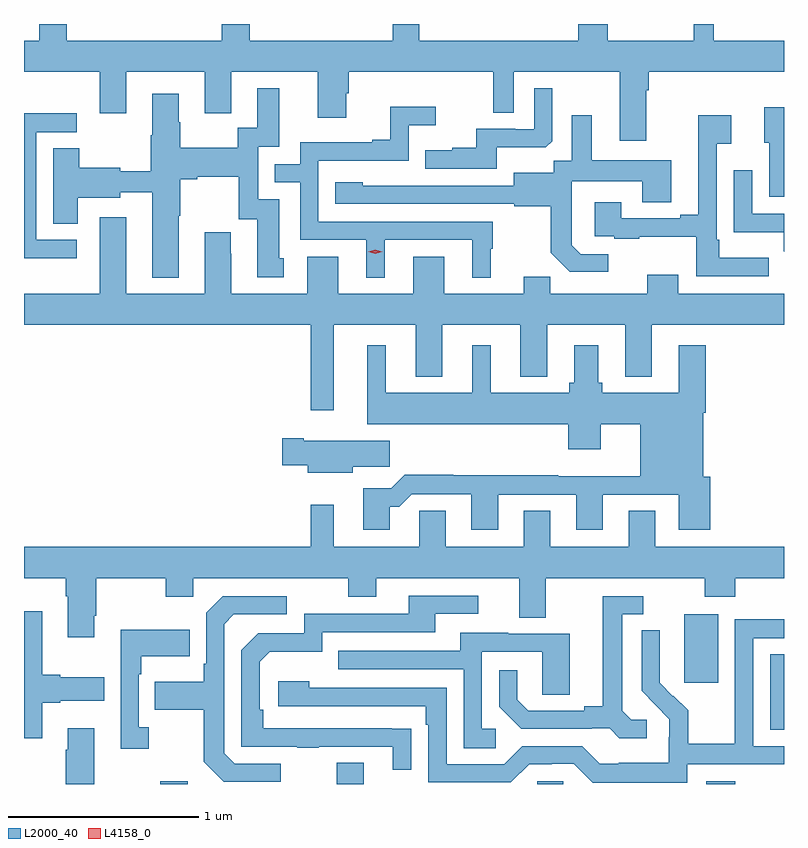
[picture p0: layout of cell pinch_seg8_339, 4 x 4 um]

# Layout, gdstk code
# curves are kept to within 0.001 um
import gdstk
lib = gdstk.Library(unit=1e-6, precision=1e-09)
def R(c, l, rs):  # rectangles x0, y0, x1, y1
    for r in rs: c.add(gdstk.rectangle(r[:2], r[2:], *l))
def P(c, l, *ps):  # polygons
    for p in ps: c.add(gdstk.Polygon(p, *l))
L2000_40 = (2000, 40)
L4158_0 = (4158, 0)

pinch_seg8_339 = lib.new_cell('pinch_seg8_339')
R(pinch_seg8_339, L2000_40, [(423.436,1138.06,423.583,1138.075), (424.367,1138.06,424.507,1138.171), (425.421,1138.06,425.559,1138.074), (426.311,1138.06,426.464,1138.075), (426.647,1138.345,426.72,1138.742), (426.194,1138.593,426.373,1138.954)])
P(pinch_seg8_339, L2000_40, [(425.995,1141.712),(426.008,1141.712),(426.008,1141.808),(426.72,1141.808),(426.72,1141.972),(426.349,1141.972),(426.349,1142.06),(426.245,1142.06),(426.245,1141.972),(425.793,1141.972),(425.793,1142.06),(425.638,1142.06),(425.638,1141.972),(424.801,1141.972),(424.801,1142.06),(424.661,1142.06),(424.661,1141.972),(423.907,1141.972),(423.907,1142.06),(423.76,1142.06),(423.76,1141.972),(422.946,1141.972),(422.946,1142.06),(422.8,1142.06),(422.8,1141.972),(422.72,1141.972),(422.72,1141.808),(423.119,1141.808),(423.119,1141.59),(423.259,1141.59),(423.259,1141.808),(423.671,1141.808),(423.671,1141.59),(423.811,1141.59),(423.811,1141.808),(424.265,1141.808),(424.265,1141.566),(424.417,1141.566),(424.417,1141.695),(424.43,1141.695),(424.43,1141.808),(425.19,1141.808),(425.19,1141.594),(425.298,1141.594),(425.298,1141.808),(425.855,1141.808),(425.855,1141.446),(425.995,1141.446)],
  [(425.209,1141.412),(425.467,1141.412),(425.499,1141.443),(425.499,1141.723),(425.406,1141.723),(425.406,1141.506),(425.306,1141.506),(425.306,1141.509),(425.099,1141.509),(425.099,1141.408),(424.975,1141.408),(424.975,1141.396),(424.831,1141.396),(424.831,1141.299),(425.209,1141.299)],
  [(423.535,1141.051),(423.543,1141.051),(423.543,1141.244),(423.631,1141.244),(423.631,1141.256),(423.851,1141.256),(423.851,1141.032),(423.947,1141.032),(423.947,1140.726),(424.087,1140.726),(424.087,1140.828),(424.063,1140.828),(424.063,1141.137),(423.954,1141.137),(423.954,1141.413),(424.063,1141.413),(424.063,1141.723),(423.947,1141.723),(423.947,1141.514),(423.846,1141.514),(423.846,1141.408),(423.543,1141.408),(423.543,1141.542),(423.535,1141.542),(423.535,1141.693),(423.395,1141.693),(423.395,1141.475),(423.388,1141.475),(423.388,1141.285),(423.226,1141.285),(423.226,1141.303),(423.012,1141.303),(423.012,1141.406),(422.873,1141.406),(422.873,1141.009),(423.004,1141.009),(423.004,1141.145),(423.226,1141.145),(423.226,1141.175),(423.395,1141.175),(423.395,1140.725),(423.535,1140.725)],
  [(424.618,1140.924),(425.078,1140.924),(425.078,1140.725),(425.176,1140.725),(425.176,1140.876),(425.188,1140.876),(425.188,1141.02),(424.269,1141.02),(424.269,1141.341),(424.746,1141.341),(424.746,1141.526),(424.888,1141.526),(424.888,1141.625),(424.648,1141.625),(424.648,1141.45),(424.553,1141.45),(424.553,1141.437),(424.173,1141.437),(424.173,1141.323),(424.039,1141.323),(424.039,1141.227),(424.173,1141.227),(424.173,1140.924),(424.52,1140.924),(424.52,1140.725),(424.618,1140.725)],
  [(426.72,1141.622),(426.617,1141.622),(426.617,1141.434),(426.642,1141.434),(426.642,1141.152),(426.72,1141.152)],
  [(422.998,1140.924),(422.784,1140.924),(422.784,1141.491),(422.998,1141.491),(422.998,1141.59),(422.72,1141.59),(422.72,1140.828),(422.998,1140.828)],
  [(426.64,1140.829),(426.379,1140.829),(426.379,1140.925),(426.366,1140.925),(426.366,1141.43),(426.442,1141.43),(426.442,1141.579),(426.269,1141.579),(426.269,1141.057),(426.173,1141.057),(426.173,1141.038),(425.863,1141.038),(425.863,1141.123),(425.723,1141.123),(425.723,1140.942),(425.827,1140.942),(425.827,1140.93),(425.959,1140.93),(425.959,1140.941),(426.258,1140.941),(426.258,1140.732),(426.64,1140.732)],
  [(425.794,1140.849),(425.649,1140.849),(425.602,1140.896),(425.602,1140.991),(425.604,1140.991),(425.604,1141.232),(425.975,1141.232),(425.975,1141.123),(426.127,1141.123),(426.127,1141.342),(425.707,1141.342),(425.707,1141.579),(425.603,1141.579),(425.603,1141.34),(425.508,1141.34),(425.508,1141.276),(425.297,1141.276),(425.297,1141.209),(424.503,1141.21),(424.503,1141.228),(424.359,1141.228),(424.359,1141.113),(425.301,1141.113),(425.301,1141.101),(425.493,1141.101),(425.493,1140.855),(425.593,1140.755),(425.794,1140.755)],
  [(426.72,1141.062),(426.552,1141.062),(426.552,1141.291),(426.456,1141.291),(426.456,1140.965),(426.718,1140.965),(426.718,1140.863),(426.72,1140.861)],
  [(424.769,1140.64),(424.375,1140.64),(424.375,1140.835),(424.211,1140.835),(424.211,1140.64),(423.811,1140.64),(423.811,1140.851),(423.808,1140.851),(423.808,1140.964),(423.671,1140.964),(423.671,1140.64),(423.259,1140.64),(423.259,1141.042),(423.119,1141.042),(423.119,1140.64),(422.72,1140.64),(422.72,1140.476),(424.23,1140.476),(424.23,1140.027),(424.351,1140.027),(424.351,1140.476),(424.781,1140.476),(424.781,1140.203),(424.921,1140.203),(424.921,1140.476),(425.333,1140.476),(425.333,1140.203),(425.473,1140.203),(425.473,1140.476),(425.885,1140.476),(425.885,1140.203),(426.025,1140.203),(426.025,1140.476),(426.72,1140.476),(426.72,1140.64),(426.163,1140.64),(426.163,1140.739),(425.999,1140.739),(425.999,1140.64),(425.489,1140.64),(425.489,1140.731),(425.351,1140.731),(425.351,1140.64),(424.933,1140.64),(424.933,1140.835),(424.769,1140.835)],
  [(424.645,1139.519),(424.694,1139.519),(424.761,1139.586),(425.075,1139.586),(425.075,1139.397),(425.215,1139.397),(425.215,1139.583),(425.627,1139.583),(425.627,1139.397),(425.767,1139.397),(425.767,1139.583),(426.167,1139.583),(426.167,1139.397),(426.332,1139.397),(426.332,1139.676),(426.295,1139.676),(426.295,1140.014),(426.308,1140.014),(426.308,1140.37),(426.167,1140.37),(426.167,1140.118),(425.763,1140.118),(425.763,1140.171),(425.743,1140.171),(425.743,1140.37),(425.615,1140.37),(425.615,1140.171),(425.59,1140.171),(425.59,1140.118),(425.176,1140.118),(425.176,1140.37),(425.078,1140.37),(425.078,1140.118),(424.624,1140.118),(424.624,1140.37),(424.526,1140.37),(424.526,1139.954),(425.585,1139.954),(425.585,1139.823),(425.755,1139.823),(425.755,1139.954),(425.963,1139.954),(425.963,1139.68),(425.531,1139.68),(425.531,1139.684),(424.979,1139.684),(424.979,1139.687),(424.724,1139.687),(424.654,1139.617),(424.505,1139.617),(424.505,1139.397),(424.645,1139.397)],
  [(424.45,1139.731),(424.645,1139.731),(424.645,1139.866),(424.192,1139.866),(424.192,1139.879),(424.08,1139.879),(424.08,1139.737),(424.214,1139.737),(424.214,1139.699),(424.45,1139.699)],
  [(423.091,1138.945),(423.099,1138.945),(423.099,1139.144),(423.466,1139.144),(423.466,1139.045),(423.612,1139.045),(423.612,1139.144),(424.426,1139.144),(424.426,1139.045),(424.573,1139.045),(424.573,1139.144),(425.327,1139.144),(425.327,1138.936),(425.467,1138.936),(425.467,1139.144),(426.304,1139.144),(426.304,1139.045),(426.464,1139.045),(426.464,1139.144),(426.72,1139.144),(426.72,1139.308),(426.043,1139.308),(426.043,1139.498),(425.903,1139.498),(425.903,1139.308),(425.491,1139.308),(425.491,1139.498),(425.351,1139.498),(425.351,1139.308),(424.939,1139.308),(424.939,1139.498),(424.8,1139.498),(424.8,1139.308),(424.351,1139.308),(424.351,1139.53),(424.23,1139.53),(424.23,1139.308),(422.72,1139.308),(422.72,1139.144),(422.939,1139.144),(422.939,1139.048),(422.951,1139.048),(422.951,1138.833),(423.091,1138.833)],
  [(424.757,1138.352),(423.98,1138.353),(423.98,1138.45),(423.96,1138.45),(423.96,1138.704),(424.013,1138.757),(424.29,1138.757),(424.29,1138.86),(424.885,1138.86),(424.885,1138.956),(425.11,1138.956),(425.11,1139.052),(424.745,1139.052),(424.745,1138.956),(424.194,1138.956),(424.194,1138.854),(423.954,1138.854),(423.864,1138.764),(423.864,1138.257),(424.159,1138.257),(424.159,1138.252),(424.271,1138.252),(424.271,1138.257),(424.661,1138.257),(424.661,1138.134),(424.757,1138.134)],
  [(424.072,1138.167),(423.828,1138.167),(423.774,1138.221),(423.774,1138.902),(423.825,1138.953),(424.102,1138.953),(424.102,1139.049),(423.765,1139.049),(423.678,1138.962),(423.678,1138.693),(423.666,1138.693),(423.666,1138.597),(423.409,1138.597),(423.409,1138.45),(423.666,1138.45),(423.666,1138.177),(423.771,1138.071),(424.072,1138.071)],
  [(425.998,1138.398),(425.916,1138.398),(425.869,1138.445),(425.869,1138.953),(425.98,1138.953),(425.98,1139.049),(425.765,1139.049),(425.765,1138.469),(425.669,1138.469),(425.669,1138.446),(425.374,1138.446),(425.317,1138.503),(425.317,1138.66),(425.22,1138.66),(425.22,1138.466),(425.336,1138.35),(425.708,1138.35),(425.708,1138.353),(425.802,1138.353),(425.854,1138.301),(425.998,1138.301)],
  [(422.815,1138.487),(422.911,1138.487),(422.911,1138.499),(423.142,1138.499),(423.142,1138.621),(422.911,1138.621),(422.911,1138.634),(422.815,1138.634),(422.815,1138.969),(422.72,1138.969),(422.72,1138.302),(422.815,1138.302)],
  [(426.21,1138.164),(426.72,1138.164),(426.72,1138.26),(426.558,1138.26),(426.558,1138.827),(426.72,1138.827),(426.72,1138.926),(426.462,1138.926),(426.462,1138.496),(426.46,1138.496),(426.46,1138.273),(426.215,1138.273),(426.215,1138.447),(426.138,1138.524),(426.135,1138.521),(426.065,1138.592),(426.066,1138.868),(425.97,1138.868),(425.97,1138.55),(426.116,1138.402),(426.116,1138.305),(426.114,1138.305),(426.114,1138.171),(425.851,1138.171),(425.851,1138.167),(425.751,1138.167),(425.658,1138.26),(425.343,1138.26),(425.247,1138.164),(424.944,1138.164),(424.944,1138.566),(424.22,1138.566),(424.22,1138.6),(424.059,1138.6),(424.059,1138.47),(424.835,1138.47),(424.835,1138.373),(424.848,1138.373),(424.848,1138.068),(425.283,1138.068),(425.379,1138.164),(425.498,1138.164),(425.498,1138.167),(425.613,1138.167),(425.713,1138.067),(426.21,1138.067)],
  [(423.376,1138.358),(423.324,1138.358),(423.324,1138.637),(423.337,1138.637),(423.337,1138.733),(423.593,1138.733),(423.593,1138.873),(423.228,1138.873),(423.228,1138.245),(423.376,1138.245)],
  [(425.203,1138.35),(425.13,1138.35),(425.13,1138.755),(425.448,1138.755),(425.448,1138.531),(425.593,1138.531),(425.593,1138.851),(425.269,1138.851),(425.269,1138.855),(425.015,1138.855),(425.015,1138.761),(424.375,1138.761),(424.375,1138.665),(425.034,1138.665),(425.034,1138.249),(425.203,1138.249)],
  [(423.091,1138.354),(422.951,1138.354),(422.951,1138.241),(422.939,1138.241),(422.939,1138.06),(423.091,1138.06)])
P(pinch_seg8_339, L4158_0, [(424.569,1140.851),(424.533,1140.861),(424.533,1140.861),(424.533,1140.861),(424.569,1140.871),(424.605,1140.862),(424.605,1140.862),(424.605,1140.862)])

lib.write_gds('pinch_seg8_339.gds')
